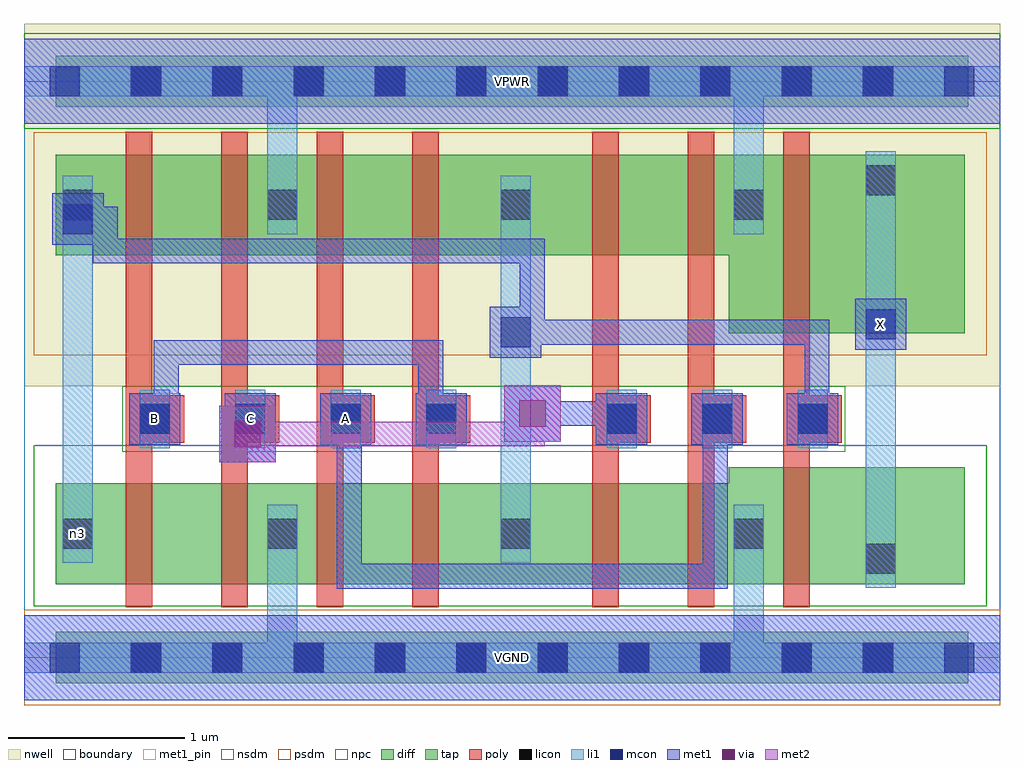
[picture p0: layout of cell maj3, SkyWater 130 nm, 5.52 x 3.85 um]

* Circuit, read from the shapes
.subckt maj3 A B C VGND VPWR X n3
XM1 n1 B n3 VGND sky130_fd_pr__nfet_01v8 w=0.57 l=0.15
XM2 VGND C n1 VGND sky130_fd_pr__nfet_01v8 w=0.57 l=0.15
XM3 n2 A VGND VGND sky130_fd_pr__nfet_01v8 w=0.57 l=0.15
XM4 n3 B n2 VGND sky130_fd_pr__nfet_01v8 w=0.57 l=0.15
XM5 n4 C n3 VGND sky130_fd_pr__nfet_01v8 w=0.57 l=0.15
XM6 VGND A n4 VGND sky130_fd_pr__nfet_01v8 w=0.57 l=0.15
XM7 X n3 VGND VGND sky130_fd_pr__nfet_01v8 w=0.66 l=0.15
XM8 n5 B n3 VPWR sky130_fd_pr__pfet_01v8 w=0.57 l=0.15
XM9 VPWR C n5 VPWR sky130_fd_pr__pfet_01v8 w=0.57 l=0.15
XM10 n6 A VPWR VPWR sky130_fd_pr__pfet_01v8 w=0.57 l=0.15
XM11 n3 B n6 VPWR sky130_fd_pr__pfet_01v8 w=0.57 l=0.15
XM12 n7 C n3 VPWR sky130_fd_pr__pfet_01v8 w=0.57 l=0.15
XM13 VPWR A n7 VPWR sky130_fd_pr__pfet_01v8 w=0.57 l=0.15
XM14 X n3 VPWR VPWR sky130_fd_pr__pfet_01v8 w=1.01 l=0.15
.ends

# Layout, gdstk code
import gdstk
lib = gdstk.Library(unit=1e-6, precision=1e-09)
def R(c, l, rs):  # rectangles x0, y0, x1, y1
    for r in rs: c.add(gdstk.rectangle(r[:2], r[2:], *l))
def A(c, l, x, y, w, h, nx, ny, dx, dy):  # array of equal rectangles
    R(c, l, [(x+i*dx, y+j*dy, x+i*dx+w, y+j*dy+h) for i in range(nx) for j in range(ny)])
nwell = (64, 20)
diff = (65, 20)
tap = (65, 44)
poly = (66, 20)
licon = (66, 44)
li1 = (67, 20)
mcon = (67, 44)
met1_pin = (68, 16)
met1 = (68, 20)
via = (68, 44)
met2 = (69, 20)
nsdm = (93, 44)
psdm = (94, 20)
npc = (95, 20)
boundary = (235, 4)

maj3 = lib.new_cell('maj3')
R(maj3, nwell, [(0,1.535,5.52,3.585)])
R(maj3, diff, [(0.18,0.415,4.295,0.985), (3.985,0.415,5.32,1.075), (3.985,1.835,5.32,2.845), (0.18,2.275,4.295,2.845)])
R(maj3, tap, [(0.18,-0.145,5.34,0.145), (0.18,3.115,5.34,3.405)])
A(maj3, poly, 0.575, 0.285, 0.15, 2.69, 4, 1, 0.54, 0)
A(maj3, poly, 3.215, 0.285, 0.15, 2.69, 3, 1, 0.54, 0)
A(maj3, poly, 0.575, 1.215, 0.33, 0.27, 4, 1, 0.54, 0)
A(maj3, poly, 3.215, 1.215, 0.33, 0.27, 3, 1, 0.54, 0)
A(maj3, licon, 0.605, -0.085, 0.17, 0.17, 10, 2, 0.46, 3.26)
A(maj3, licon, 1.375, 0.615, 0.17, 0.17, 3, 2, 1.32, 1.86)
A(maj3, licon, 0.655, 1.265, 0.17, 0.17, 4, 1, 0.54, 0)
A(maj3, licon, 3.295, 1.265, 0.17, 0.17, 3, 1, 0.54, 0)
R(maj3, licon, [(4.76,0.475,4.93,0.645), (0.22,0.615,0.39,0.785), (0.22,2.475,0.39,2.645), (4.76,2.615,4.93,2.785)])
A(maj3, li1, 1.375, 0.535, 0.17, 0.33, 3, 2, 1.32, 1.86)
A(maj3, li1, 0.655, 1.185, 0.17, 0.33, 4, 1, 0.54, 0)
A(maj3, li1, 3.295, 1.185, 0.17, 0.33, 3, 1, 0.54, 0)
R(maj3, li1, [(0,-0.085,5.52,0.085), (1.375,-0.085,1.545,0.865), (4.015,-0.085,4.185,0.865), (4.76,0.395,4.93,0.725), (4.76,0.395,4.93,2.865), (0.22,0.535,0.39,0.865), (0.22,0.535,0.39,2.725), (2.695,0.535,2.865,2.725), (0.22,2.395,0.39,2.725), (1.375,2.395,1.545,3.345), (4.015,2.395,4.185,3.345), (4.76,2.535,4.93,2.865), (0,3.175,5.52,3.345)])
A(maj3, mcon, 0.145, -0.085, 0.17, 0.17, 12, 2, 0.46, 3.26)
A(maj3, mcon, 0.655, 1.265, 0.17, 0.17, 4, 1, 0.54, 0)
A(maj3, mcon, 3.295, 1.265, 0.17, 0.17, 3, 1, 0.54, 0)
R(maj3, mcon, [(2.695,1.755,2.865,1.925), (4.76,1.8,4.93,1.97), (0.22,2.395,0.39,2.565)])
A(maj3, met1_pin, 0.595, 1.205, 0.29, 0.29, 3, 1, 0.54, 0)
R(maj3, met1_pin, [(0,-0.24,5.52,0.24), (4.7,1.74,4.99,2.03), (0,3.02,5.52,3.5)])
A(maj3, met1, 0.595, 1.205, 0.29, 0.29, 4, 1, 0.54, 0)
A(maj3, met1, 3.235, 1.205, 0.29, 0.29, 3, 1, 0.54, 0)
A(maj3, met1, 3.265, 1.31, 0.14, 0.14, 3, 1, 0.575, 0)
R(maj3, met1, [(0,-0.24,5.52,0.24), (1.77,0.39,1.91,1.45), (1.77,0.39,3.98,0.53), (3.84,0.39,3.98,1.45), (1.105,1.105,1.425,1.425), (1.195,1.195,1.335,1.45), (2.715,1.22,3.035,1.54), (0.735,1.31,0.875,1.45), (0.735,1.31,0.875,1.795), (1.195,1.31,1.335,1.45), (1.77,1.31,1.91,1.45), (2.23,1.31,2.37,1.45), (2.23,1.31,2.37,1.795), (2.805,1.31,3.405,1.45), (4.415,1.31,4.555,1.91), (0.735,1.655,2.37,1.795), (2.635,1.695,2.925,1.985), (4.7,1.74,4.99,2.03), (2.71,1.77,2.945,1.91), (2.805,1.77,2.945,2.37), (2.805,1.77,4.555,1.91), (0.39,2.23,0.53,2.55), (0.39,2.23,2.945,2.37), (0.16,2.335,0.45,2.625), (0.235,2.41,0.53,2.55), (0,3.02,5.52,3.5)])
R(maj3, via, [(1.19,1.19,1.34,1.34), (2.8,1.305,2.95,1.455)])
R(maj3, met2, [(1.105,1.105,1.425,1.425), (1.195,1.195,2.945,1.335), (2.805,1.195,2.945,1.45), (2.715,1.22,3.035,1.54)])
R(maj3, nsdm, [(0.055,0.29,5.445,1.2), (0,2.99,5.52,3.53)])
R(maj3, psdm, [(0,-0.27,5.52,0.27), (0.055,1.71,5.445,2.97)])
R(maj3, npc, [(0.555,1.165,4.645,1.535)])
R(maj3, boundary, [(0,0,5.52,3.26)])
maj3.add(gdstk.Label('n3', (0.305,0.7), layer=67, texttype=5))
maj3.add(gdstk.Label('A', (1.82,1.35), layer=68, texttype=5))
maj3.add(gdstk.Label('B', (0.74,1.35), layer=68, texttype=5))
maj3.add(gdstk.Label('C', (1.28,1.35), layer=68, texttype=5))
maj3.add(gdstk.Label('X', (4.845,1.885), layer=68, texttype=5))
maj3.add(gdstk.Label('VPWR', (2.76,3.26), layer=68, texttype=5))
maj3.add(gdstk.Label('VGND', (2.76,0), layer=68, texttype=5))
maj3.add(gdstk.Label('A', (1.82,1.35), layer=68, texttype=16))
maj3.add(gdstk.Label('B', (0.74,1.35), layer=68, texttype=16))
maj3.add(gdstk.Label('C', (1.28,1.35), layer=68, texttype=16))
maj3.add(gdstk.Label('X', (4.845,1.885), layer=68, texttype=16))
maj3.add(gdstk.Label('VPWR', (2.76,3.26), layer=68, texttype=16))
maj3.add(gdstk.Label('VGND', (2.76,0), layer=68, texttype=16))

lib.write_gds('maj3.gds')
